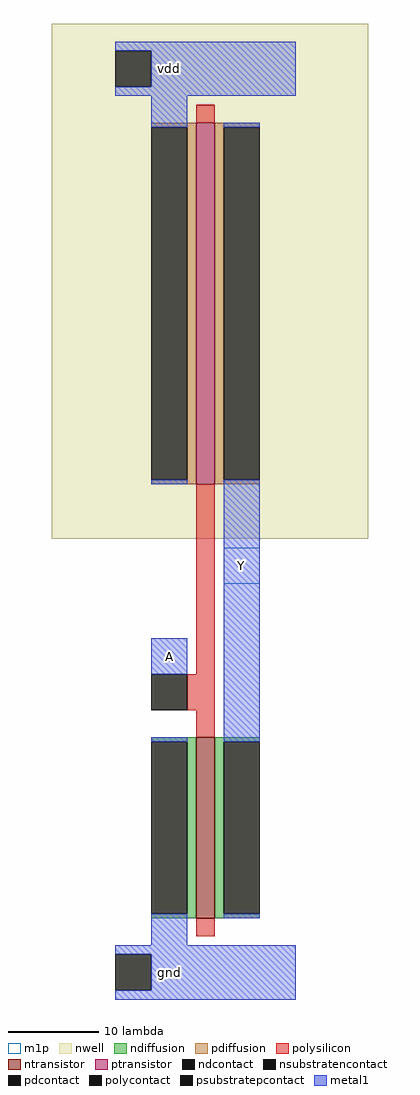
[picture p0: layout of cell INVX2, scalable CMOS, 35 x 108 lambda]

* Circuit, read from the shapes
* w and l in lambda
.subckt INVX2 A Y vdd gnd
M1 Y A gnd gnd nfet w=20 l=2
M2 Y A vdd vdd pfet w=40 l=2
.ends

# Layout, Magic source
magic
tech scmos
magscale 1 2
<< nwell >>
rect -18 96 52 210
<< ntransistor >>
rect 14 12 18 52
<< ptransistor >>
rect 14 108 18 188
<< ndiffusion >>
rect 4 51 14 52
rect 12 13 14 51
rect 4 12 14 13
rect 18 51 28 52
rect 18 13 20 51
rect 18 12 28 13
<< pdiffusion >>
rect 4 187 14 188
rect 12 109 14 187
rect 4 108 14 109
rect 18 187 28 188
rect 18 109 20 187
rect 18 108 28 109
<< ndcontact >>
rect 4 13 12 51
rect 20 13 28 51
<< pdcontact >>
rect 4 109 12 187
rect 20 109 28 187
<< psubstratepcontact >>
rect -4 -4 4 4
<< nsubstratencontact >>
rect -4 196 4 204
<< polysilicon >>
rect 14 188 18 192
rect 14 66 18 108
rect 12 58 18 66
rect 14 52 18 58
rect 14 8 18 12
<< polycontact >>
rect 4 58 12 66
<< metal1 >>
rect -4 204 36 206
rect 4 196 36 204
rect -4 194 36 196
rect 4 187 12 194
rect 4 108 12 109
rect 20 187 28 188
rect 4 66 12 74
rect 4 51 12 52
rect 4 6 12 13
rect 20 51 28 109
rect 20 12 28 13
rect -4 4 36 6
rect 4 -4 36 4
rect -4 -6 36 -4
<< m1p >>
rect 20 86 28 94
rect 4 66 12 74
<< labels >>
rlabel metal1 8 200 8 200 4 vdd
port 3 se
rlabel metal1 8 0 8 0 4 gnd
port 4 se
rlabel metal1 24 90 24 90 4 Y
port 2 se
rlabel metal1 8 70 8 70 4 A
port 1 se
<< end >>
